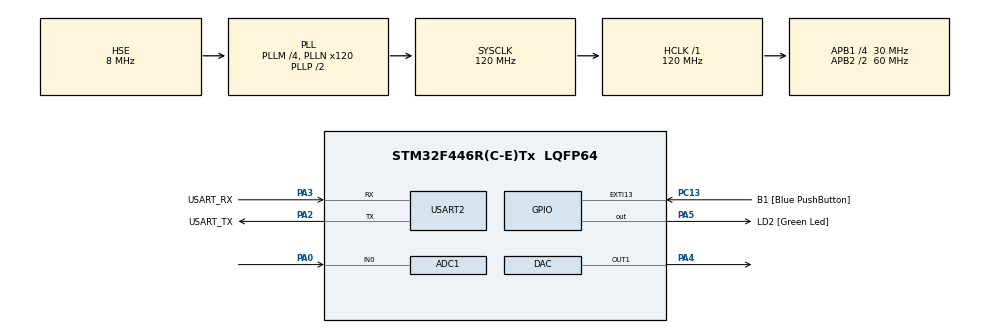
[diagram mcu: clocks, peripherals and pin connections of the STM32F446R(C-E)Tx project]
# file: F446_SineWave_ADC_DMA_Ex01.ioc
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ADC1.Channel-0\#ChannelRegularConversion=ADC_CHANNEL_0
ADC1.DMAContinuousRequests=ENABLE
ADC1.ExternalTrigConv=ADC_EXTERNALTRIGCONV_T8_CC1
ADC1.ExternalTrigConvEdge=ADC_EXTERNALTRIGCONVEDGE_FALLING
ADC1.NbrOfConversionFlag=1
ADC1.Rank-0\#ChannelRegularConversion=1
ADC1.SamplingTime-0\#ChannelRegularConversion=ADC_SAMPLETIME_15CYCLES
ADC1.master=1
DAC.DAC_Trigger=DAC_TRIGGER_T8_TRGO
Dma.ADC1.0.Direction=DMA_PERIPH_TO_MEMORY
Dma.ADC1.0.FIFOMode=DMA_FIFOMODE_DISABLE
Dma.ADC1.0.Instance=DMA2_Stream0
Dma.ADC1.0.MemDataAlignment=DMA_MDATAALIGN_WORD
Dma.ADC1.0.MemInc=DMA_MINC_ENABLE
Dma.ADC1.0.Mode=DMA_CIRCULAR
Dma.ADC1.0.PeriphDataAlignment=DMA_PDATAALIGN_WORD
Dma.ADC1.0.PeriphInc=DMA_PINC_DISABLE
Dma.ADC1.0.Priority=DMA_PRIORITY_HIGH
Dma.DAC1.1.Direction=DMA_MEMORY_TO_PERIPH
Dma.DAC1.1.FIFOMode=DMA_FIFOMODE_DISABLE
Dma.DAC1.1.Instance=DMA1_Stream5
Dma.DAC1.1.MemDataAlignment=DMA_MDATAALIGN_WORD
Dma.DAC1.1.MemInc=DMA_MINC_ENABLE
Dma.DAC1.1.Mode=DMA_CIRCULAR
Dma.DAC1.1.PeriphDataAlignment=DMA_PDATAALIGN_WORD
Dma.DAC1.1.PeriphInc=DMA_PINC_DISABLE
Dma.DAC1.1.Priority=DMA_PRIORITY_HIGH
Dma.Request0=ADC1
Dma.Request1=DAC1
Mcu.Family=STM32F4
Mcu.Name=STM32F446R(C-E)Tx
Mcu.Package=LQFP64
NVIC.DMA1_Stream5_IRQn=true\:0\:0\:false\:false\:true\:false\:true\:true
NVIC.DMA2_Stream0_IRQn=true\:0\:0\:false\:false\:true\:false\:true\:true
NVIC.PriorityGroup=NVIC_PRIORITYGROUP_0
PA0-WKUP.Signal=ADCx_IN0
PA13.GPIO_Label=TMS
PA13.Mode=Serial_Wire
PA13.Signal=SYS_JTMS-SWDIO
PA14.GPIO_Label=TCK
PA14.Mode=Serial_Wire
PA14.Signal=SYS_JTCK-SWCLK
PA2.GPIO_Label=USART_TX
PA2.Mode=Asynchronous
PA2.Signal=USART2_TX
PA3.GPIO_Label=USART_RX
PA3.Mode=Asynchronous
PA3.Signal=USART2_RX
PA4.Signal=COMP_DAC1_group
PA5.GPIO_Label=LD2 [Green Led]
PA5.Signal=GPIO_Output
PB3.GPIO_Label=SWO
PB3.Signal=SYS_JTDO-SWO
PC13.GPIO_Label=B1 [Blue PushButton]
PC13.GPIO_ModeDefaultEXTI=GPIO_MODE_IT_FALLING
PC13.Signal=GPXTI13
PC14-OSC32_IN.Mode=LSE-External-Oscillator
PC14-OSC32_IN.Signal=RCC_OSC32_IN
PC15-OSC32_OUT.Mode=LSE-External-Oscillator
PC15-OSC32_OUT.Signal=RCC_OSC32_OUT
PH0-OSC_IN.Mode=HSE-External-Oscillator
PH0-OSC_IN.Signal=RCC_OSC_IN
PH1-OSC_OUT.Mode=HSE-External-Oscillator
PH1-OSC_OUT.Signal=RCC_OSC_OUT
ProjectManager.HeapSize=0x200
ProjectManager.StackSize=0x400
ProjectManager.TargetToolchain=STM32CubeIDE
RCC.48MHZClocksFreq_Value=84000000
RCC.AHBFreq_Value=120000000
RCC.APB1CLKDivider=RCC_HCLK_DIV4
RCC.APB1Freq_Value=30000000
RCC.APB1TimFreq_Value=60000000
RCC.APB2CLKDivider=RCC_HCLK_DIV2
RCC.APB2Freq_Value=60000000
RCC.APB2TimFreq_Value=120000000
RCC.CortexFreq_Value=120000000
RCC.FLatency-AdvancedSettings=FLASH_LATENCY_3
RCC.HCLKFreq_Value=120000000
RCC.HSE_VALUE=8000000
RCC.HSI_VALUE=16000000
RCC.PLLM=4
RCC.PLLN=120
RCC.PLLSourceVirtual=RCC_PLLSOURCE_HSE
RCC.SYSCLKFreq_VALUE=120000000
RCC.SYSCLKSource=RCC_SYSCLKSOURCE_PLLCLK
RCC.USBFreq_Value=120000000
RCC.VCOOutputFreq_Value=240000000
SH.ADCx_IN0.0=ADC1_IN0,IN0
SH.COMP_DAC1_group.0=DAC_OUT1,DAC_OUT1
TIM8.Channel-PWM\ Generation1\ No\ Output=TIM_CHANNEL_1
TIM8.Period=499
TIM8.Pulse-PWM\ Generation1\ No\ Output=300
TIM8.TIM_MasterOutputTrigger=TIM_TRGO_UPDATE
USART2.VirtualMode=VM_ASYNC
VP_TIM8_VS_ClockSourceINT.Mode=Internal
VP_TIM8_VS_no_output1.Mode=PWM Generation1 No Output
board=NUCLEO-F446RE

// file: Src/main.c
/* USER CODE BEGIN Header */
/**
  ******************************************************************************
  * @file           : main.c
  * @brief          : Main program body
  ******************************************************************************
  * @attention
  *
  * Copyright (c) 2022 STMicroelectronics.
  * All rights reserved.
  *
  * Geração de Sinal Senoidal com 255 Pontos e 1870 Hz.
  * Resolução do DAC de 12 bits.
  * 4095 equivale a 3,3V.
  * TIM8 conta de 0 a 255. Quando passa em 100, aciona a leitura analógica. Quando estoura
  * aciona o DAC.
  * Frequência do sinal gerado:
  * 	No osciloscópio: 1,83Khz / 1,84KHz
  * 	Na fórmula: 1845 Hz = 1,84Khz
  *
  ******************************************************************************
  */
/* USER CODE END Header */
#include "main.h"

/* USER CODE BEGIN Includes */
#include <stdbool.h>
#include <string.h>

#define Ns 256

/* USER CODE END Includes */

/* USER CODE BEGIN PM */
uint32_t seno[Ns] = {2048,2098,2148,2198,2248,2298,2348,2398,2447,2496,2545,2594,2642,2690,2737,2784,
		2831,2877,2923,2968,3013,3057,3100,3143,3185,3226,3267,3307,3346,3385,3423,3459,3495,3530,
		3565,3598,3630,3662,3692,3722,3750,3777,3804,3829,3853,3876,3898,3919,3939,3958,3975,3992,
		4007,4021,4034,4045,4056,4065,4073,4080,4085,4089,4093,4094,4095,4094,4093,4089,4085,4080,
		4073,4065,4056,4045,4034,4021,4007,3992,3975,3958,3939,3919,3898,3876,3853,3829,3804,3777,
		3750,3722,3692,3662,3630,3598,3565,3530,3495,3459,3423,3385,3346,3307,3267,3226,3185,3143,
		3100,3057,3013,2968,2923,2877,2831,2784,2737,2690,2642,2594,2545,2496,2447,2398,2348,2298,
		2248,2198,2148,2098,2048,1997,1947,1897,1847,1797,1747,1697,1648,1599,1550,1501,1453,1405,
		1358,1311,1264,1218,1172,1127,1082,1038,995,952,910,869,828,788,749,710,672,636,600,565,530,
		497,465,433,403,373,345,318,291,266,242,219,197,176,156,137,120,103,88,74,61,50,39,30,22,15,
		10,6,2,1,0,1,2,6,10,15,22,30,39,50,61,74,88,103,120,137,156,176,197,219,242,266,291,318,345,
		373,403,433,465,497,530,565,600,636,672,710,749,788,828,869,910,952,995,1038,1082,1127,1172,
		1218,1264,1311,1358,1405,1453,1501,1550,1599,1648,1697,1747,1797,1847,1897,1947,1997,
		};

uint32_t AdcRead[Ns];
bool flag = false;
bool transfer = false;

char recebido[10]; 	// buffer que armazena a string recebida.
char resp1[4] = {'n', 'e', 'x', 't'};
char dados[4];

int ret;
int i = 0;

long g;
long h;
/* USER CODE END PM */

ADC_HandleTypeDef hadc1;
DMA_HandleTypeDef hdma_adc1;

DAC_HandleTypeDef hdac;
DMA_HandleTypeDef hdma_dac1;

TIM_HandleTypeDef htim8;

UART_HandleTypeDef huart2;

void SystemClock_Config(void);
static void MX_GPIO_Init(void);
static void MX_DMA_Init(void);
static void MX_USART2_UART_Init(void);
static void MX_ADC1_Init(void);
static void MX_DAC_Init(void);
static void MX_TIM8_Init(void);

int main(void)
{

  /* MCU Configuration--------------------------------------------------------*/

  /* Reset of all peripherals, Initializes the Flash interface and the Systick. */
  HAL_Init();

  /* Configure the system clock */
  SystemClock_Config();

  /* Initialize all configured peripherals */
  MX_GPIO_Init();
  MX_DMA_Init();
  MX_USART2_UART_Init();
  MX_ADC1_Init();
  MX_DAC_Init();
  MX_TIM8_Init();
  /* USER CODE BEGIN 2 */

  HAL_DAC_Start_DMA(&hdac, DAC_CHANNEL_1, (uint32_t*)seno, Ns, DAC_ALIGN_12B_R);
  HAL_ADC_Start_DMA(&hadc1, AdcRead, Ns);
  HAL_TIM_Base_Start(&htim8);
  HAL_TIM_PWM_Start(&htim8, TIM_CHANNEL_1);

  /* USER CODE END 2 */

  /* Infinite loop */
  /* USER CODE BEGIN WHILE */
  while (1)
  {
	  HAL_UART_Receive(&huart2, recebido, 4, 100);
	  ret = strncmp(recebido, resp1, 4);

	  if (ret == 0){		// Se ret = 0 as duas strings são iguais.
		  recebido[0] = 'a';
		  flag = true;
	  }
    /* USER CODE END WHILE */

  }
}

void SystemClock_Config(void)
{
  RCC_OscInitTypeDef RCC_OscInitStruct = {0};
  RCC_ClkInitTypeDef RCC_ClkInitStruct = {0};

  /** Configure the main internal regulator output voltage
  */
  __HAL_RCC_PWR_CLK_ENABLE();
  __HAL_PWR_VOLTAGESCALING_CONFIG(PWR_REGULATOR_VOLTAGE_SCALE3);

  /** Initializes the RCC Oscillators according to the specified parameters
  * in the RCC_OscInitTypeDef structure.
  */
  RCC_OscInitStruct.OscillatorType = RCC_OSCILLATORTYPE_HSE;
  RCC_OscInitStruct.HSEState = RCC_HSE_ON;
  RCC_OscInitStruct.PLL.PLLState = RCC_PLL_ON;
  RCC_OscInitStruct.PLL.PLLSource = RCC_PLLSOURCE_HSE;
  RCC_OscInitStruct.PLL.PLLM = 4;
  RCC_OscInitStruct.PLL.PLLN = 120;
  RCC_OscInitStruct.PLL.PLLP = RCC_PLLP_DIV2;
  RCC_OscInitStruct.PLL.PLLQ = 2;
  RCC_OscInitStruct.PLL.PLLR = 2;
  if (HAL_RCC_OscConfig(&RCC_OscInitStruct) != HAL_OK)
  {
    Error_Handler();
  }

  /** Initializes the CPU, AHB and APB buses clocks
  */
  RCC_ClkInitStruct.ClockType = RCC_CLOCKTYPE_HCLK|RCC_CLOCKTYPE_SYSCLK
                              |RCC_CLOCKTYPE_PCLK1|RCC_CLOCKTYPE_PCLK2;
  RCC_ClkInitStruct.SYSCLKSource = RCC_SYSCLKSOURCE_PLLCLK;
  RCC_ClkInitStruct.AHBCLKDivider = RCC_SYSCLK_DIV1;
  RCC_ClkInitStruct.APB1CLKDivider = RCC_HCLK_DIV4;
  RCC_ClkInitStruct.APB2CLKDivider = RCC_HCLK_DIV2;

  if (HAL_RCC_ClockConfig(&RCC_ClkInitStruct, FLASH_LATENCY_3) != HAL_OK)
  {
    Error_Handler();
  }
}

static void MX_ADC1_Init(void)
{

  ADC_ChannelConfTypeDef sConfig = {0};

  /** Configure the global features of the ADC (Clock, Resolution, Data Alignment and number of conversion)
  */
  hadc1.Instance = ADC1;
  hadc1.Init.ClockPrescaler = ADC_CLOCK_SYNC_PCLK_DIV2;
  hadc1.Init.Resolution = ADC_RESOLUTION_12B;
  hadc1.Init.ScanConvMode = DISABLE;
  hadc1.Init.ContinuousConvMode = DISABLE;
  hadc1.Init.DiscontinuousConvMode = DISABLE;
  hadc1.Init.ExternalTrigConvEdge = ADC_EXTERNALTRIGCONVEDGE_FALLING;
  hadc1.Init.ExternalTrigConv = ADC_EXTERNALTRIGCONV_T8_CC1;
  hadc1.Init.DataAlign = ADC_DATAALIGN_RIGHT;
  hadc1.Init.NbrOfConversion = 1;
  hadc1.Init.DMAContinuousRequests = ENABLE;
  hadc1.Init.EOCSelection = ADC_EOC_SINGLE_CONV;
  if (HAL_ADC_Init(&hadc1) != HAL_OK)
  {
    Error_Handler();
  }

  /** Configure for the selected ADC regular channel its corresponding rank in the sequencer and its sample time.
  */
  sConfig.Channel = ADC_CHANNEL_0;
  sConfig.Rank = 1;
  sConfig.SamplingTime = ADC_SAMPLETIME_15CYCLES;
  if (HAL_ADC_ConfigChannel(&hadc1, &sConfig) != HAL_OK)
  {
    Error_Handler();
  }

}

static void MX_DAC_Init(void)
{

  DAC_ChannelConfTypeDef sConfig = {0};

  /** DAC Initialization
  */
  hdac.Instance = DAC;
  if (HAL_DAC_Init(&hdac) != HAL_OK)
  {
    Error_Handler();
  }

  /** DAC channel OUT1 config
  */
  sConfig.DAC_Trigger = DAC_TRIGGER_T8_TRGO;
  sConfig.DAC_OutputBuffer = DAC_OUTPUTBUFFER_ENABLE;
  if (HAL_DAC_ConfigChannel(&hdac, &sConfig, DAC_CHANNEL_1) != HAL_OK)
  {
    Error_Handler();
  }

}

static void MX_TIM8_Init(void)
{

  TIM_ClockConfigTypeDef sClockSourceConfig = {0};
  TIM_MasterConfigTypeDef sMasterConfig = {0};
  TIM_OC_InitTypeDef sConfigOC = {0};
  TIM_BreakDeadTimeConfigTypeDef sBreakDeadTimeConfig = {0};

  htim8.Instance = TIM8;
  htim8.Init.Prescaler = 0;
  htim8.Init.CounterMode = TIM_COUNTERMODE_UP;
  htim8.Init.Period = 254;
  htim8.Init.ClockDivision = TIM_CLOCKDIVISION_DIV1;
  htim8.Init.RepetitionCounter = 0;
  htim8.Init.AutoReloadPreload = TIM_AUTORELOAD_PRELOAD_DISABLE;
  if (HAL_TIM_Base_Init(&htim8) != HAL_OK)
  {
    Error_Handler();
  }
  sClockSourceConfig.ClockSource = TIM_CLOCKSOURCE_INTERNAL;
  if (HAL_TIM_ConfigClockSource(&htim8, &sClockSourceConfig) != HAL_OK)
  {
    Error_Handler();
  }
  if (HAL_TIM_PWM_Init(&htim8) != HAL_OK)
  {
    Error_Handler();
  }
  sMasterConfig.MasterOutputTrigger = TIM_TRGO_UPDATE;
  sMasterConfig.MasterSlaveMode = TIM_MASTERSLAVEMODE_DISABLE;
  if (HAL_TIMEx_MasterConfigSynchronization(&htim8, &sMasterConfig) != HAL_OK)
  {
    Error_Handler();
  }
  sConfigOC.OCMode = TIM_OCMODE_PWM1;
  sConfigOC.Pulse = 70;
  sConfigOC.OCPolarity = TIM_OCPOLARITY_HIGH;
  sConfigOC.OCNPolarity = TIM_OCNPOLARITY_HIGH;
  sConfigOC.OCFastMode = TIM_OCFAST_DISABLE;
  sConfigOC.OCIdleState = TIM_OCIDLESTATE_RESET;
  sConfigOC.OCNIdleState = TIM_OCNIDLESTATE_RESET;
  if (HAL_TIM_PWM_ConfigChannel(&htim8, &sConfigOC, TIM_CHANNEL_1) != HAL_OK)
  {
    Error_Handler();
  }
  sBreakDeadTimeConfig.OffStateRunMode = TIM_OSSR_DISABLE;
  sBreakDeadTimeConfig.OffStateIDLEMode = TIM_OSSI_DISABLE;
  sBreakDeadTimeConfig.LockLevel = TIM_LOCKLEVEL_OFF;
  sBreakDeadTimeConfig.DeadTime = 0;
  sBreakDeadTimeConfig.BreakState = TIM_BREAK_DISABLE;
  sBreakDeadTimeConfig.BreakPolarity = TIM_BREAKPOLARITY_HIGH;
  sBreakDeadTimeConfig.AutomaticOutput = TIM_AUTOMATICOUTPUT_DISABLE;
  if (HAL_TIMEx_ConfigBreakDeadTime(&htim8, &sBreakDeadTimeConfig) != HAL_OK)
  {
    Error_Handler();
  }

}

static void MX_USART2_UART_Init(void)
{

  huart2.Instance = USART2;
  huart2.Init.BaudRate = 115200;
  huart2.Init.WordLength = UART_WORDLENGTH_8B;
  huart2.Init.StopBits = UART_STOPBITS_1;
  huart2.Init.Parity = UART_PARITY_NONE;
  huart2.Init.Mode = UART_MODE_TX_RX;
  huart2.Init.HwFlowCtl = UART_HWCONTROL_NONE;
  huart2.Init.OverSampling = UART_OVERSAMPLING_16;
  if (HAL_UART_Init(&huart2) != HAL_OK)
  {
    Error_Handler();
  }

}

static void MX_DMA_Init(void)
{

  /* DMA controller clock enable */
  __HAL_RCC_DMA2_CLK_ENABLE();
  __HAL_RCC_DMA1_CLK_ENABLE();

  /* DMA interrupt init */
  /* DMA1_Stream5_IRQn interrupt configuration */
  HAL_NVIC_SetPriority(DMA1_Stream5_IRQn, 0, 0);
  HAL_NVIC_EnableIRQ(DMA1_Stream5_IRQn);
  /* DMA2_Stream0_IRQn interrupt configuration */
  HAL_NVIC_SetPriority(DMA2_Stream0_IRQn, 0, 0);
  HAL_NVIC_EnableIRQ(DMA2_Stream0_IRQn);

}

static void MX_GPIO_Init(void)
{
  GPIO_InitTypeDef GPIO_InitStruct = {0};

  /* GPIO Ports Clock Enable */
  __HAL_RCC_GPIOC_CLK_ENABLE();
  __HAL_RCC_GPIOH_CLK_ENABLE();
  __HAL_RCC_GPIOA_CLK_ENABLE();
  __HAL_RCC_GPIOB_CLK_ENABLE();

  /*Configure GPIO pin Output Level */
  HAL_GPIO_WritePin(LD2_GPIO_Port, LD2_Pin, GPIO_PIN_RESET);

  /*Configure GPIO pin : B1_Pin */
  GPIO_InitStruct.Pin = B1_Pin;
  GPIO_InitStruct.Mode = GPIO_MODE_IT_FALLING;
  GPIO_InitStruct.Pull = GPIO_NOPULL;
  HAL_GPIO_Init(B1_GPIO_Port, &GPIO_InitStruct);

  /*Configure GPIO pin : LD2_Pin */
  GPIO_InitStruct.Pin = LD2_Pin;
  GPIO_InitStruct.Mode = GPIO_MODE_OUTPUT_PP;
  GPIO_InitStruct.Pull = GPIO_NOPULL;
  GPIO_InitStruct.Speed = GPIO_SPEED_FREQ_LOW;
  HAL_GPIO_Init(LD2_GPIO_Port, &GPIO_InitStruct);

}

/* USER CODE BEGIN 4 */
void HAL_ADC_ConvCpltCallback(ADC_HandleTypeDef* hadc1){

if( transfer == true){
	flag = false;
	transfer = false;

	for (i = 0; i < Ns; i++){
		  sprintf(dados, "%4d", AdcRead[i]);
		  HAL_UART_Transmit(&huart2, dados , 4, 200);
		  for (g = 1; g < 200; g++){
			  h = (1 + g)/(1 + g);
		  }
		 }
	HAL_UART_Transmit(&huart2, "stop", 4, 100);
}

	if (flag == true){
		transfer = true;
		HAL_GPIO_TogglePin(GPIOA, GPIO_PIN_5);
	}
}
/* USER CODE END 4 */

void Error_Handler(void)
{
  __disable_irq();
  while (1)
  {
  }
}
